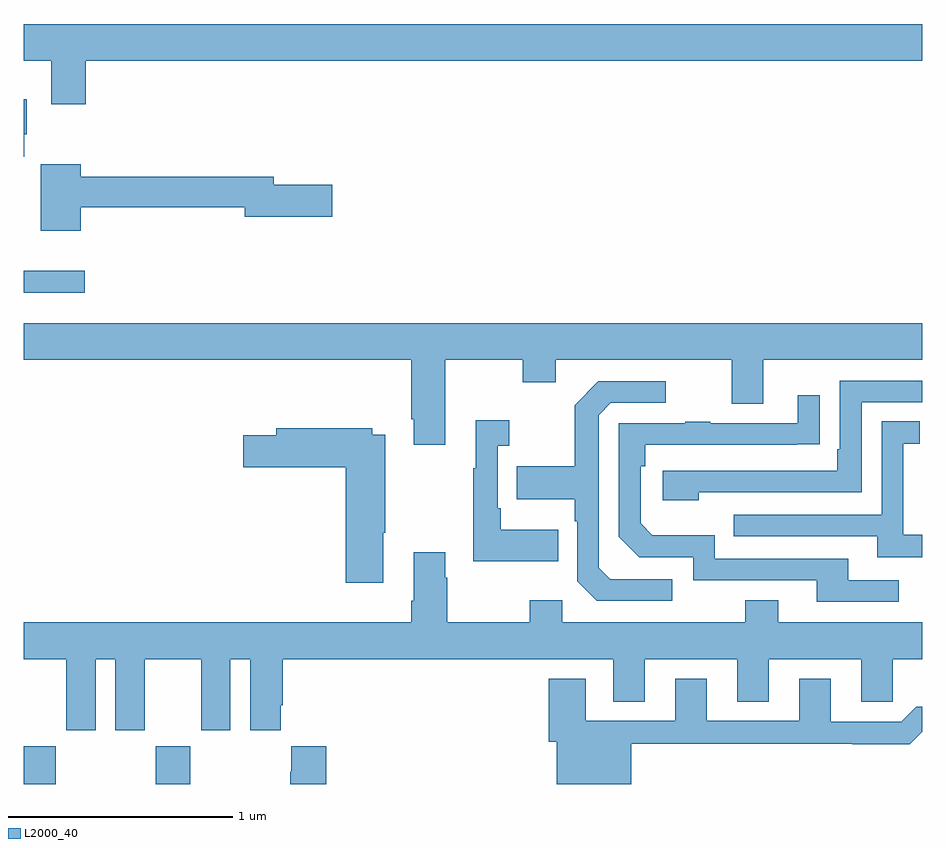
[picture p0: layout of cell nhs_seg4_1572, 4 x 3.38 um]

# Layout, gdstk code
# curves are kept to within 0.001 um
import gdstk
lib = gdstk.Library(unit=1e-6, precision=1e-09)
def R(c, l, rs):  # rectangles x0, y0, x1, y1
    for r in rs: c.add(gdstk.rectangle(r[:2], r[2:], *l))
def P(c, l, *ps):  # polygons
    for p in ps: c.add(gdstk.Polygon(p, *l))
L2000_40 = (2000, 40)

nhs_seg4_1572 = lib.new_cell('nhs_seg4_1572')
R(nhs_seg4_1572, L2000_40, [(191,826.9,191.142,827.068), (191.587,826.9,191.742,827.068), (191,829.088,191.272,829.185)])
P(nhs_seg4_1572, L2000_40, [(191.276,830.12),(195,830.12),(195,830.284),(191,830.284),(191,830.12),(191.123,830.12),(191.123,829.926),(191.276,829.926)],
  [(191.002,829.794),(191.014,829.794),(191.014,829.948),(191,829.948),(191,829.694),(191.002,829.694)],
  [(191.254,829.468),(191.984,829.468),(191.984,829.426),(192.373,829.426),(192.373,829.568),(192.112,829.568),(192.112,829.604),(191.254,829.604),(191.254,829.66),(191.075,829.66),(191.075,829.364),(191.254,829.364)],
  [(192.877,828.788),(193.222,828.788),(193.222,828.689),(193.369,828.689),(193.369,828.788),(194.153,828.788),(194.153,828.594),(194.293,828.594),(194.293,828.788),(195,828.788),(195,828.952),(191,828.952),(191,828.788),(192.725,828.788),(192.725,828.523),(192.737,828.523),(192.737,828.411),(192.877,828.411)],
  [(194.006,828.198),(194.73,828.198),(194.73,828.6),(195,828.6),(195,828.696),(194.634,828.696),(194.634,828.391),(194.621,828.391),(194.621,828.294),(193.845,828.294),(193.845,828.164),(194.006,828.164)],
  [(193.888,827.811),(193.611,827.811),(193.56,827.862),(193.56,828.543),(193.614,828.597),(193.858,828.597),(193.858,828.693),(193.557,828.693),(193.452,828.587),(193.452,828.315),(193.195,828.315),(193.195,828.167),(193.452,828.167),(193.452,828.071),(193.464,828.071),(193.464,827.802),(193.551,827.715),(193.888,827.715)],
  [(194.896,827.808),(194.671,827.808),(194.671,827.904),(194.076,827.904),(194.076,828.007),(193.799,828.007),(193.746,828.06),(193.746,828.314),(193.766,828.314),(193.766,828.411),(194.543,828.412),(194.543,828.631),(194.447,828.631),(194.447,828.507),(194.057,828.507),(194.057,828.512),(193.945,828.512),(193.945,828.507),(193.65,828.507),(193.65,828),(193.74,827.91),(193.98,827.91),(193.98,827.808),(194.531,827.808),(194.531,827.712),(194.896,827.712)],
  [(193.379,828.031),(193.123,828.031),(193.123,828.127),(193.11,828.127),(193.11,828.407),(193.162,828.407),(193.162,828.52),(193.013,828.52),(193.013,828.307),(193.002,828.307),(193.002,827.891),(193.379,827.891)],
  [(195,828.009),(194.916,828.009),(194.916,828.414),(194.989,828.414),(194.989,828.515),(194.82,828.515),(194.82,828.099),(194.161,828.099),(194.161,828.003),(194.801,828.003),(194.801,827.909),(195,827.909)],
  [(192.601,828.019),(192.609,828.019),(192.609,828.454),(192.552,828.454),(192.552,828.483),(192.125,828.483),(192.125,828.453),(191.976,828.453),(191.976,828.311),(192.434,828.311),(192.434,827.796),(192.601,827.796)],
  [(191.32,827.456),(191.408,827.456),(191.408,827.139),(191.539,827.139),(191.539,827.456),(191.789,827.456),(191.789,827.139),(191.92,827.139),(191.92,827.456),(192.008,827.456),(192.008,827.139),(192.145,827.139),(192.145,827.251),(192.152,827.251),(192.152,827.456),(193.625,827.456),(193.625,827.266),(193.765,827.266),(193.765,827.456),(194.177,827.456),(194.177,827.266),(194.317,827.266),(194.317,827.456),(194.729,827.456),(194.729,827.266),(194.868,827.266),(194.868,827.456),(195,827.456),(195,827.62),(194.359,827.62),(194.359,827.719),(194.212,827.719),(194.212,827.62),(193.398,827.62),(193.398,827.719),(193.252,827.719),(193.252,827.62),(192.885,827.62),(192.885,827.819),(192.877,827.819),(192.877,827.932),(192.737,827.932),(192.737,827.716),(192.725,827.716),(192.725,827.62),(191,827.62),(191,827.456),(191.189,827.456),(191.189,827.139),(191.32,827.139)],
  [(193.705,827.08),(194.689,827.08),(194.689,827.078),(194.945,827.078),(195,827.133),(195,827.245),(194.974,827.245),(194.907,827.178),(194.593,827.178),(194.593,827.368),(194.453,827.368),(194.453,827.181),(194.041,827.181),(194.041,827.368),(193.901,827.368),(193.901,827.181),(193.501,827.181),(193.501,827.368),(193.337,827.368),(193.337,827.088),(193.373,827.088),(193.373,826.9),(193.705,826.9)],
  [(192.347,827.068),(192.191,827.068),(192.191,826.955),(192.187,826.955),(192.187,826.9),(192.347,826.9)])

lib.write_gds('nhs_seg4_1572.gds')
